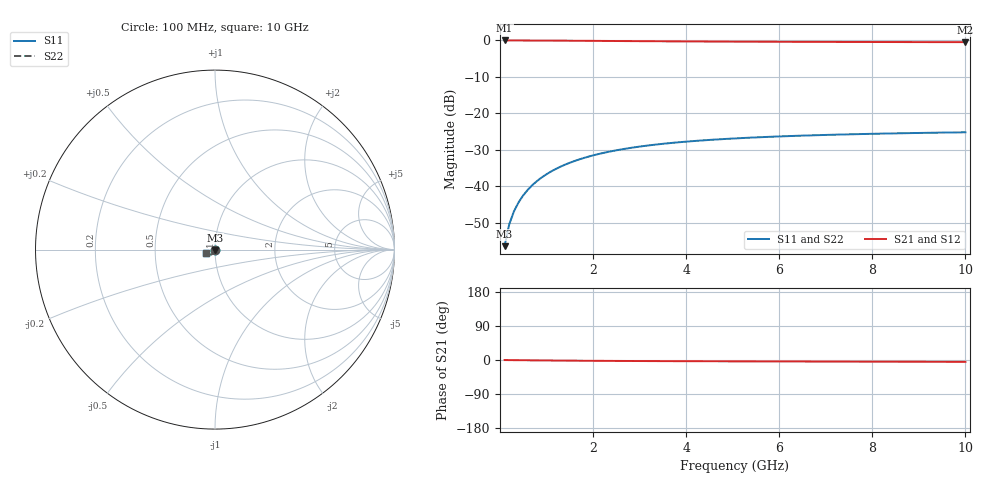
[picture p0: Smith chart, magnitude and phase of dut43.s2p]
! Touchstone file exported from HFSS 2024.1.0
!  File:  C:/UserFiles/LocalFiles/RDL_TSV_Batchsim/temp_TSV1_43_1779371362.aedt
!  Generated:  09:55:16 PM May 21, 2026
!  Design:  TSV1
!  Project:  temp_TSV1_43_1779371362
!  Setup:  Setup1
!  Solution:  Sweep
! Variables:
!  dtsv = 12.88um
!  hbump = 3um
!  htsv = 74.79um
!  lrdl = 252.1521522um
!  p = 40
!  p1 = 46.31um
!  t = 500um
!  trdl = 3um
!  wrdl = 24.89489489um
# GHz S MA R 50.000000
! Terminal data exported
! Port[1] = TSV22_T1
! Port[2] = TSV22_T2
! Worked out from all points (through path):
!   100 points, 100 MHz to 10 GHz, reference 50 ohm
!   highest |S21| = 0.00 dB at 100 MHz (marker M1); lowest = -0.5 dB at 10 GHz (marker M2)
!   lowest |S11| = -56.4 dB at 100 MHz (marker M3), VSWR 1.00, Z = 50 - j0.151 ohm
!   |S11| at or under -10 dB: start of sweep to end of sweep
!   |S22| runs from -56.4 to -25.2 dB; largest |S21 - S12| = 9.1e-15
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0.1  0.001508 -88.3  0.9999 -0.1  0.9999 -0.1  0.001508 -88.3
! Gamma 0 0 0 0
! Port Impedance 50 0 50 0
0.2  0.003014 -91.3  0.9997 -0.3  0.9997 -0.3  0.003014 -91.3
0.3  0.00452 -93.4  0.9995 -0.4  0.9995 -0.4  0.00452 -93.4
0.4  0.006019 -95.3  0.9992 -0.5  0.9992 -0.5  0.006019 -95.3
0.5  0.007508 -97.0  0.9988 -0.6  0.9988 -0.6  0.007508 -97.0
0.6  0.008979 -98.7  0.9983 -0.7  0.9983 -0.7  0.008979 -98.7
0.7  0.01043 -100.4  0.9978 -0.9  0.9978 -0.9  0.01043 -100.4
0.8  0.01186 -102.0  0.9972 -1.0  0.9972 -1.0  0.01186 -102.0
0.9  0.01326 -103.6  0.9966 -1.1  0.9966 -1.1  0.01326 -103.6
1.1  0.01598 -106.6  0.9951 -1.3  0.9951 -1.3  0.01598 -106.6
1.4  0.0198 -111.0  0.9927 -1.6  0.9927 -1.6  0.0198 -111.0
1.6  0.02218 -113.7  0.9909 -1.8  0.9909 -1.8  0.02218 -113.7
1.8  0.02442 -116.3  0.989 -2.0  0.989 -2.0  0.02442 -116.3
2.1  0.0275 -120.0  0.9862 -2.2  0.9862 -2.2  0.0275 -120.0
2.5  0.03114 -124.4  0.9824 -2.5  0.9824 -2.5  0.03114 -124.4
2.9  0.03429 -128.4  0.9787 -2.7  0.9787 -2.7  0.03429 -128.4
3.4  0.03763 -132.8  0.9745 -2.9  0.9745 -2.9  0.03763 -132.8
4.2  0.04189 -138.7  0.9687 -3.2  0.9687 -3.2  0.04189 -138.7
5.1  0.0455 -144.1  0.9633 -3.5  0.9633 -3.5  0.0455 -144.1
6.7  0.04996 -151.4  0.9562 -4.0  0.9562 -4.0  0.04995 -151.4
8.4  0.05303 -157.2  0.9511 -4.5  0.9511 -4.5  0.05303 -157.2
10  0.05502 -161.5  0.9476 -4.9  0.9476 -4.9  0.05502 -161.5
